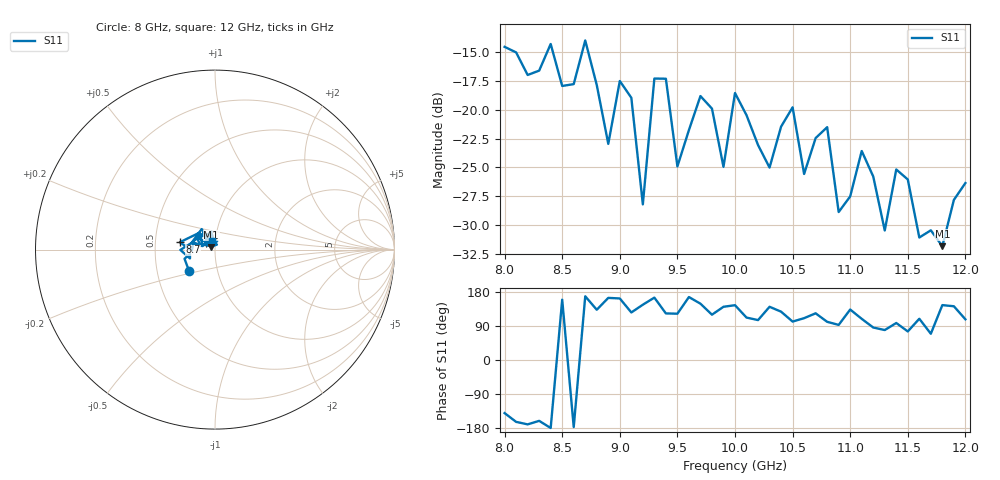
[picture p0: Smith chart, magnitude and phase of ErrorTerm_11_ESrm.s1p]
!  1-Port S-parameters saved by WinCal
! VAR NAME=2-Port SOLT labuser 6
! VAR Error Term Name=ESrm phys rcv port 1 phys src port 1
# Hz S RI R 50
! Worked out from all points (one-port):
!   41 points, 8 GHz to 12 GHz, reference 50 ohm
!   lowest |S11| = -31.8 dB at 11.8 GHz (marker M1), VSWR 1.05, Z = 47.9 + j1.41 ohm
!   |S11| at or under -10 dB: start of sweep to end of sweep
!   S11 on the Smith chart (normalised r, x): 8 GHz: 0.73, -0.18; 8.7 GHz: 0.67, +0.06; 12 GHz: 0.97, +0.09
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8e9  -0.144 -0.1201
8.2e9  -0.1394 -0.0248
8.4e9  -0.1929 -0.00187
8.5e9  -0.1186 0.0448
8.7e9  -0.1956 0.0412
8.9e9  -0.0683 0.0197
9e9  -0.127 0.0403
9.1e9  -0.0654 0.0918
9.2e9  -0.0322 0.0218
9.3e9  -0.1317 0.0362
9.4e9  -0.0741 0.1144
9.5e9  -0.0302 0.048
9.7e9  -0.0979 0.0597
9.9e9  -0.0435 0.036
1e10  -0.0964 0.0684
1.03e10  -0.0432 0.0357
1.05e10  -0.0203 0.1004
1.06e10  -0.0183 0.0493
1.08e10  -0.0157 0.0825
1.09e10  -0.00162 0.0359
1.1e10  -0.0288 0.0307
1.11e10  -0.0212 0.0627
1.13e10  0.00569 0.0294
1.14e10  -0.00732 0.0545
1.15e10  0.0126 0.0482
1.16e10  -0.009 0.0264
1.18e10  -0.0209 0.0147
1.2e10  -0.0143 0.0459
